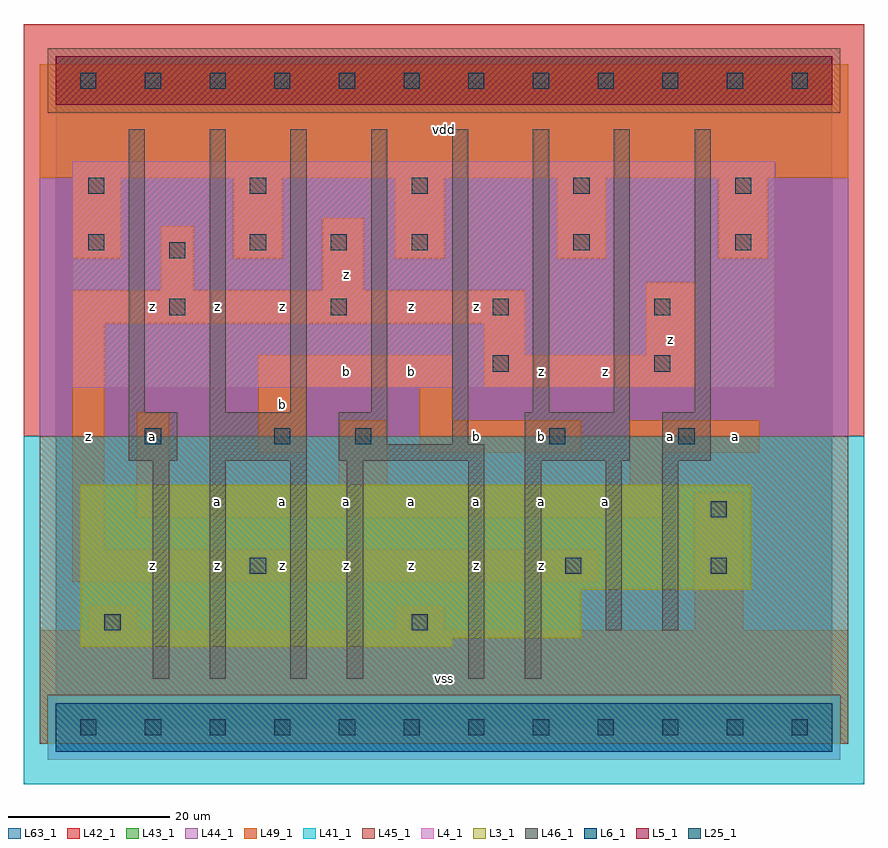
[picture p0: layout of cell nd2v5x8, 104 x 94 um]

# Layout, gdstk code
import gdstk
lib = gdstk.Library(unit=1e-6, precision=1e-09)
def R(c, l, rs):  # rectangles x0, y0, x1, y1
    for r in rs: c.add(gdstk.rectangle(r[:2], r[2:], *l))
def A(c, l, x, y, w, h, nx, ny, dx, dy):  # array of equal rectangles
    R(c, l, [(x+i*dx, y+j*dy, x+i*dx+w, y+j*dy+h) for i in range(nx) for j in range(ny)])
L3_1 = (3, 1)
L4_1 = (4, 1)
L5_1 = (5, 1)
L6_1 = (6, 1)
L25_1 = (25, 1)
L41_1 = (41, 1)
L42_1 = (42, 1)
L43_1 = (43, 1)
L44_1 = (44, 1)
L45_1 = (45, 1)
L46_1 = (46, 1)
L49_1 = (49, 1)
L63_1 = (63, 1)

nd2v5x8 = lib.new_cell('nd2v5x8')
R(nd2v5x8, L3_1, [(3,10,49,11), (3,11,65,17), (3,17,86,30)])
R(nd2v5x8, L4_1, [(2,42,89,70)])
R(nd2v5x8, L5_1, [(0,77,96,83)])
R(nd2v5x8, L6_1, [(0,-3,96,3), (0,-3,96,3)])
A(nd2v5x8, L25_1, 3, -1, 2, 2, 12, 2, 8, 80)
A(nd2v5x8, L25_1, 14, 51, 2, 2, 4, 1, 20, 0)
A(nd2v5x8, L25_1, 24, 59, 2, 2, 3, 1, 10, 0)
A(nd2v5x8, L25_1, 4, 66, 2, 2, 5, 1, 20, 0)
R(nd2v5x8, L25_1, [(6,12,8,14), (44,12,46,14), (24,19,26,21), (63,19,65,21), (81,19,83,21), (81,26,83,28), (11,35,13,37), (27,35,29,37), (37,35,39,37), (61,35,63,37), (77,35,79,37), (54,44,56,46), (74,44,76,46), (14,58,16,60), (4,59,6,61), (64,59,66,61), (84,59,86,61)])
R(nd2v5x8, L41_1, [(-4,-7,100,36)])
R(nd2v5x8, L42_1, [(-4,36,100,87)])
R(nd2v5x8, L43_1, [(0,-3,96,3), (3,10,49,11), (3,11,65,17), (3,17,86,30), (2,42,89,70), (0,77,96,83)])
R(nd2v5x8, L44_1, [(-1,-4,97,4), (-2,36,98,76), (-2,76,-1,82), (97,76,98,82)])
R(nd2v5x8, L45_1, [(-2,-2,-1,4), (97,-2,98,4), (-2,4,98,36), (-1,76,97,84)])
A(nd2v5x8, L46_1, 9, 39, 2, 35, 4, 1, 10, 0)
A(nd2v5x8, L46_1, 59, 39, 2, 35, 3, 1, 10, 0)
R(nd2v5x8, L46_1, [(12,6,14,33), (19,6,21,33), (29,6,31,33), (36,6,38,33), (51,6,53,33), (58,6,60,33), (68,12,70,33), (75,12,77,33), (9,33,15,39), (19,33,31,39), (35,33,53,35), (58,33,71,39), (75,33,81,39), (35,35,41,39), (49,35,51,74)])
A(nd2v5x8, L49_1, 2, 58, 6, 10, 5, 1, 20, 0)
R(nd2v5x8, L49_1, [(-2,-2,98,12), (4,12,10,15), (42,12,48,15), (79,12,85,29), (2,18,67,22), (2,22,6,50), (10,26,75,30), (10,30,14,39), (35,30,41,38), (71,30,75,34), (25,34,31,42), (45,34,65,38), (71,34,87,38), (45,38,49,42), (25,42,49,46), (53,42,79,46), (53,46,58,50), (73,46,79,55), (2,50,58,54), (13,54,17,62), (33,54,38,63), (-2,68,98,82)])
R(nd2v5x8, L63_1, [(0,0,96,80)])
nd2v5x8.add(gdstk.Label('z', (12,20), layer=49, texttype=1))
nd2v5x8.add(gdstk.Label('a', (12,36), layer=49, texttype=1))
nd2v5x8.add(gdstk.Label('z', (4,36), layer=49, texttype=1))
nd2v5x8.add(gdstk.Label('z', (12,52), layer=49, texttype=1))
nd2v5x8.add(gdstk.Label('a', (20,28), layer=49, texttype=1))
nd2v5x8.add(gdstk.Label('z', (20,20), layer=49, texttype=1))
nd2v5x8.add(gdstk.Label('a', (28,28), layer=49, texttype=1))
nd2v5x8.add(gdstk.Label('z', (28,20), layer=49, texttype=1))
nd2v5x8.add(gdstk.Label('b', (28,40), layer=49, texttype=1))
nd2v5x8.add(gdstk.Label('z', (28,52), layer=49, texttype=1))
nd2v5x8.add(gdstk.Label('z', (20,52), layer=49, texttype=1))
nd2v5x8.add(gdstk.Label('vss', (48,6), layer=49, texttype=1))
nd2v5x8.add(gdstk.Label('a', (36,28), layer=49, texttype=1))
nd2v5x8.add(gdstk.Label('z', (36,20), layer=49, texttype=1))
nd2v5x8.add(gdstk.Label('a', (52,28), layer=49, texttype=1))
nd2v5x8.add(gdstk.Label('z', (52,20), layer=49, texttype=1))
nd2v5x8.add(gdstk.Label('a', (44,28), layer=49, texttype=1))
nd2v5x8.add(gdstk.Label('z', (44,20), layer=49, texttype=1))
nd2v5x8.add(gdstk.Label('b', (36,44), layer=49, texttype=1))
nd2v5x8.add(gdstk.Label('b', (52,36), layer=49, texttype=1))
nd2v5x8.add(gdstk.Label('b', (44,44), layer=49, texttype=1))
nd2v5x8.add(gdstk.Label('z', (52,52), layer=49, texttype=1))
nd2v5x8.add(gdstk.Label('z', (44,52), layer=49, texttype=1))
nd2v5x8.add(gdstk.Label('z', (36,56), layer=49, texttype=1))
nd2v5x8.add(gdstk.Label('vdd', (48,74), layer=49, texttype=1))
nd2v5x8.add(gdstk.Label('a', (60,28), layer=49, texttype=1))
nd2v5x8.add(gdstk.Label('z', (60,20), layer=49, texttype=1))
nd2v5x8.add(gdstk.Label('a', (68,28), layer=49, texttype=1))
nd2v5x8.add(gdstk.Label('z', (60,44), layer=49, texttype=1))
nd2v5x8.add(gdstk.Label('b', (60,36), layer=49, texttype=1))
nd2v5x8.add(gdstk.Label('a', (76,36), layer=49, texttype=1))
nd2v5x8.add(gdstk.Label('z', (68,44), layer=49, texttype=1))
nd2v5x8.add(gdstk.Label('z', (76,48), layer=49, texttype=1))
nd2v5x8.add(gdstk.Label('a', (84,36), layer=49, texttype=1))

lib.write_gds('nd2v5x8.gds')
